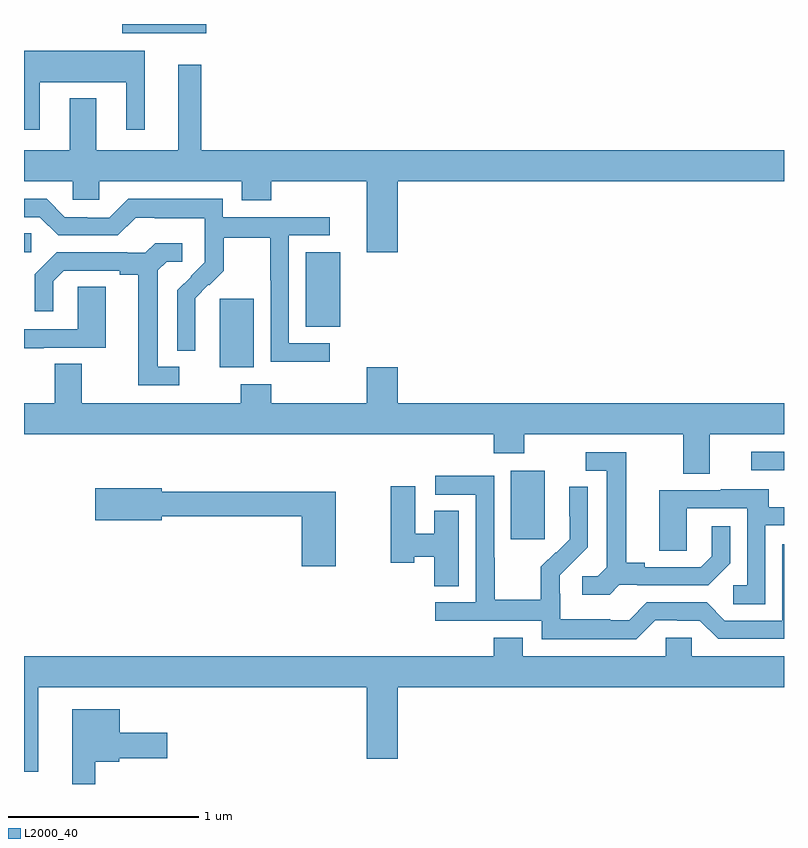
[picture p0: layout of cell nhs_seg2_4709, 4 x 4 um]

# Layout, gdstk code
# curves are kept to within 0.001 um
import gdstk
lib = gdstk.Library(unit=1e-6, precision=1e-09)
def R(c, l, rs):  # rectangles x0, y0, x1, y1
    for r in rs: c.add(gdstk.rectangle(r[:2], r[2:], *l))
def P(c, l, *ps):  # polygons
    for p in ps: c.add(gdstk.Polygon(p, *l))
L2000_40 = (2000, 40)

nhs_seg2_4709 = lib.new_cell('nhs_seg2_4709')
R(nhs_seg2_4709, L2000_40, [(369.563,643.089,369.742,643.45), (370.827,643.452,371,643.548), (368.03,643.994,368.209,644.355), (368.483,644.206,368.665,644.599), (367,644.598,367.039,644.699), (367.518,645.752,367.96,645.8)])
P(nhs_seg2_4709, L2000_40, [(367.084,645.494),(367.538,645.494),(367.538,645.243),(367.636,645.243),(367.636,645.658),(367,645.658),(367,645.243),(367.084,645.243)],
  [(368.968,644.972),(371,644.972),(371,645.136),(367.933,645.136),(367.933,645.586),(367.811,645.586),(367.811,645.136),(367.381,645.136),(367.381,645.409),(367.241,645.409),(367.241,645.136),(367,645.136),(367,644.972),(367.257,644.972),(367.257,644.874),(367.395,644.874),(367.395,644.972),(368.147,644.972),(368.147,644.873),(368.3,644.873),(368.3,644.972),(368.804,644.972),(368.804,644.598),(368.968,644.598)],
  [(368.608,644.121),(368.394,644.121),(368.394,644.688),(368.608,644.688),(368.608,644.784),(368.046,644.784),(368.046,644.881),(367.549,644.881),(367.449,644.781),(367.334,644.781),(367.334,644.784),(367.215,644.784),(367.119,644.88),(367,644.88),(367,644.784),(367.083,644.784),(367.179,644.688),(367.494,644.688),(367.587,644.781),(367.687,644.781),(367.687,644.777),(367.95,644.777),(367.95,644.643),(367.952,644.643),(367.952,644.546),(367.806,644.398),(367.806,644.08),(367.902,644.08),(367.901,644.357),(367.971,644.427),(367.974,644.424),(368.051,644.501),(368.051,644.676),(368.296,644.676),(368.296,644.452),(368.298,644.452),(368.298,644.023),(368.608,644.023)],
  [(367.816,643.995),(367.705,643.995),(367.705,644.503),(367.752,644.55),(367.834,644.55),(367.834,644.647),(367.69,644.647),(367.638,644.595),(367.544,644.595),(367.544,644.598),(367.172,644.598),(367.056,644.482),(367.056,644.289),(367.153,644.289),(367.153,644.445),(367.21,644.502),(367.505,644.502),(367.505,644.48),(367.601,644.48),(367.601,643.899),(367.816,643.899)],
  [(367.105,644.097),(367.429,644.097),(367.429,644.417),(367.284,644.417),(367.284,644.193),(367,644.193),(367,644.093),(367.105,644.093)],
  [(370.609,643.64),(371,643.64),(371,643.804),(368.968,643.804),(368.968,643.993),(368.804,643.993),(368.804,643.804),(368.3,643.804),(368.3,643.903),(368.14,643.903),(368.14,643.804),(367.303,643.804),(367.303,644.012),(367.163,644.012),(367.163,643.804),(367,643.804),(367,643.64),(369.473,643.64),(369.473,643.541),(369.633,643.541),(369.633,643.64),(370.469,643.64),(370.469,643.432),(370.609,643.432)],
  [(370.134,642.849),(370.228,642.849),(370.228,642.846),(370.6,642.846),(370.716,642.962),(370.716,643.156),(370.619,643.156),(370.619,642.999),(370.562,642.942),(370.267,642.942),(370.267,642.965),(370.171,642.965),(370.171,643.545),(369.957,643.545),(369.957,643.449),(370.067,643.449),(370.067,642.941),(370.02,642.894),(369.939,642.894),(369.939,642.797),(370.082,642.797)],
  [(370.323,642.663),(370.439,642.663),(370.439,642.66),(370.557,642.66),(370.653,642.564),(371,642.564),(371,643.062),(370.992,643.062),(370.992,642.66),(370.689,642.66),(370.593,642.756),(370.278,642.756),(370.185,642.663),(370.085,642.663),(370.085,642.667),(369.822,642.667),(369.822,642.801),(369.82,642.801),(369.82,642.898),(369.966,643.046),(369.966,643.364),(369.87,643.364),(369.87,643.21),(369.872,643.21),(369.872,643.088),(369.801,643.017),(369.798,643.02),(369.721,642.943),(369.721,642.769),(369.477,642.769),(369.477,642.992),(369.474,642.992),(369.474,643.422),(369.165,643.422),(369.165,643.323),(369.378,643.323),(369.378,642.756),(369.165,642.756),(369.165,642.66),(369.726,642.66),(369.726,642.563),(370.223,642.563)],
  [(369.289,643.238),(369.158,643.238),(369.158,643.117),(369.058,643.117),(369.058,643.366),(368.929,643.366),(368.929,642.965),(369.054,642.965),(369.054,642.995),(369.158,642.995),(369.158,642.841),(369.289,642.841)],
  [(368.64,643.339),(367.726,643.339),(367.726,643.357),(367.374,643.357),(367.374,643.187),(367.726,643.187),(367.726,643.21),(368.462,643.21),(368.462,642.945),(368.64,642.945)],
  [(370.902,643.161),(371,643.161),(371,643.257),(370.921,643.257),(370.921,643.351),(370.667,643.351),(370.667,643.347),(370.343,643.347),(370.343,643.027),(370.488,643.027),(370.488,643.251),(370.806,643.251),(370.806,642.846),(370.734,642.846),(370.734,642.745),(370.902,642.745)],
  [(367.075,642.308),(368.804,642.308),(368.804,641.934),(368.968,641.934),(368.968,642.308),(371,642.308),(371,642.472),(370.515,642.472),(370.515,642.57),(370.377,642.57),(370.377,642.472),(369.625,642.472),(369.625,642.571),(369.473,642.571),(369.473,642.472),(367,642.472),(367,641.864),(367.075,641.864)],
  [(367.375,641.918),(367.5,641.918),(367.5,641.936),(367.753,641.936),(367.753,642.07),(367.504,642.07),(367.504,642.193),(367.253,642.193),(367.253,641.8),(367.375,641.8)])

lib.write_gds('nhs_seg2_4709.gds')
